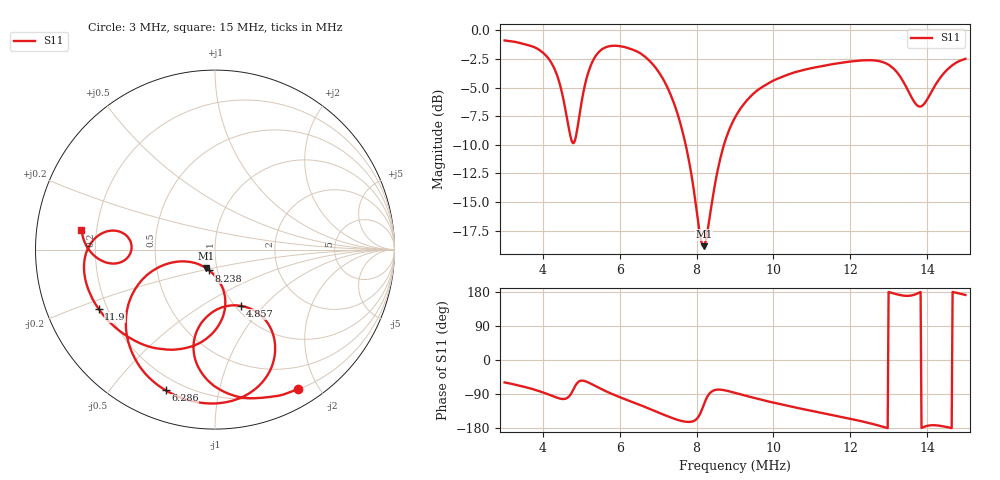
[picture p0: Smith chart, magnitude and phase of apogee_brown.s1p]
# Hz S RI R 50
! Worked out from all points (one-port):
!   505 points, 3 MHz to 15 MHz, reference 50 ohm
!   lowest |S11| = -18.9 dB at 8.19 MHz (marker M1), VSWR 1.26, Z = 44.2 - j9.1 ohm
!   |S11| at or under -10 dB: 7.715 MHz to 8.713 MHz (997.4 kHz wide, 12.1 % of centre)
!   S11 on the Smith chart (normalised r, x): 3 MHz: 0.20, -1.74; 4.857 MHz: 1.06, -0.75; 6.286 MHz: 0.14, -0.70; 8.238 MHz: 0.91, -0.22; 11.9 MHz: 0.17, -0.23; 15 MHz: 0.14, +0.07
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3000000  0.4633 -0.7769
3952300  0.085 -0.8065
4238000  -0.0569 -0.7099
4523700  -0.1141 -0.4939
4738000  0.0127 -0.3325
4857100  0.1426 -0.3128
5047500  0.3083 -0.4348
5238000  0.3271 -0.6174
5595109  0.1398 -0.8272
6023709  -0.1346 -0.8428
6285609  -0.2758 -0.7836
6952209  -0.4925 -0.4694
7523709  -0.392 -0.154
7880818  -0.2149 -0.0676
8095118  -0.098 -0.079
8190318  -0.0516 -0.1016
8237918  -0.0317 -0.1162
8618918  0.0564 -0.2705
9023618  0.0199 -0.423
9666518  -0.14 -0.5425
1.052363e7  -0.3683 -0.5403
1.190453e7  -0.6484 -0.3299
1.202353e7  -0.6666 -0.3027
1.288064e7  -0.7231 -0.0378
1.352354e7  -0.5298 0.0997
1.383304e7  -0.4652 0.00421
1.421404e7  -0.5711 -0.078
1.499974e7  -0.744 0.1087
